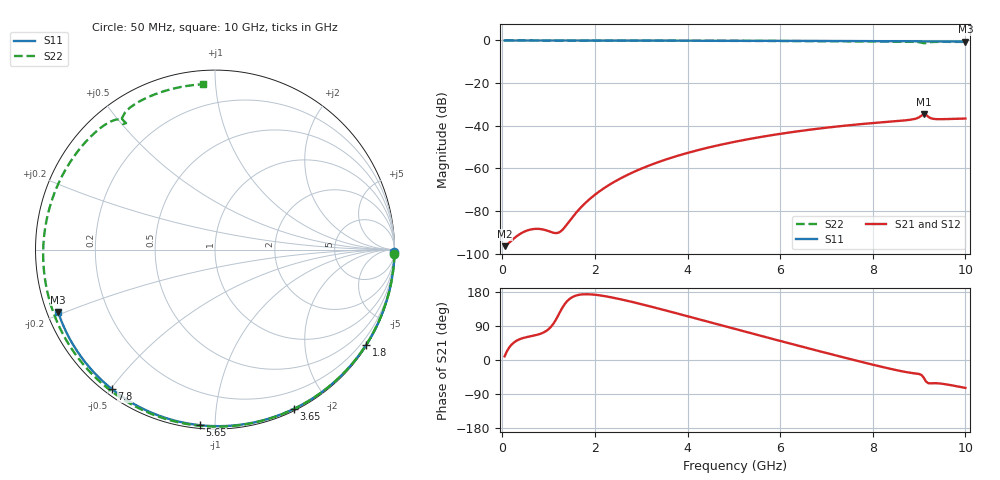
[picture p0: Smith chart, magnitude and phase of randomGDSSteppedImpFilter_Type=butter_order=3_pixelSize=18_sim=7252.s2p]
! freq	dB(S11)	phase(S11)	dB(S12)	phase(S12)
!  dB(S21)	phase(S21)	dB(S22)	phase(S22)
!S-par simulation data
#  GHz  S  DB  R 50
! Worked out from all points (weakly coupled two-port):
!   200 points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, 50 MHz to 10 GHz, reference 50 ohm
!   highest |S21| = -34.56 dB at 9.1 GHz (marker M1); lowest = -96.5 dB at 50 MHz (marker M2)
!   lowest |S11| = -0.5 dB at 10 GHz (marker M3), VSWR 32.70, Z = 1.59 - j9.55 ohm
!   |S11| at or under -10 dB: nowhere
!   |S22| runs from -1.3 to 0.0 dB; largest |S21 - S12| = 0
!   S11 on the Smith chart (normalised r, x): 50 MHz: open; 1.8 GHz: 0.03, -3.46; 3.65 GHz: 0.02, -1.61; 5.65 GHz: 0.02, -0.92; 7.8 GHz: 0.02, -0.50; 10 GHz: 0.03, -0.19
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0.05  -0.00 -0.9  -96.50 9.6  -96.50 9.6  -0.00 -1.3
0.8  -0.02 -14.5  -88.42 68.2  -88.42 68.2  -0.03 -21.0
1.6  -0.04 -28.7  -80.65 170.3  -80.65 170.3  -0.05 -41.5
1.75  -0.04 -31.3  -77.14 173.3  -77.14 173.3  -0.06 -45.3
1.8  -0.04 -32.2  -76.09 173.6  -76.09 173.6  -0.06 -46.6
2.1  -0.05 -37.4  -70.75 170.7  -70.75 170.7  -0.07 -54.1
2.45  -0.06 -43.5  -65.94 163.0  -65.94 163.0  -0.08 -62.8
2.9  -0.07 -51.1  -61.08 150.4  -61.08 150.4  -0.09 -73.8
3.4  -0.08 -59.5  -56.83 134.9  -56.83 134.9  -0.11 -85.8
3.65  -0.09 -63.6  -55.02 126.9  -55.02 126.9  -0.12 -91.8
4.35  -0.11 -74.9  -50.76 104.1  -50.76 104.1  -0.15 -108.3
5.05  -0.13 -85.8  -47.40 81.1  -47.40 81.1  -0.19 -124.7
5.65  -0.16 -95.0  -45.02 61.6  -45.02 61.6  -0.23 -138.9
6.7  -0.22 -110.5  -41.70 27.9  -41.70 27.9  -0.32 -164.6
7.25  -0.25 -118.5  -40.31 10.6  -40.31 10.6  -0.38 -178.9
7.8  -0.30 -126.5  -39.13 -6.3  -39.13 -6.3  -0.44 165.9
8.35  -0.35 -134.3  -38.13 -22.4  -38.13 -22.4  -0.51 149.6
8.9  -0.40 -142.3  -36.84 -35.2  -36.84 -35.2  -0.66 131.2
9.1  -0.42 -145.1  -34.56 -46.6  -34.56 -46.6  -1.30 125.1
9.2  -0.43 -146.6  -35.83 -61.3  -35.83 -61.3  -0.94 125.3
9.35  -0.45 -148.8  -36.88 -61.2  -36.88 -61.2  -0.68 119.0
10  -0.53 -158.4  -36.63 -73.6  -36.63 -73.6  -0.69 94.3
